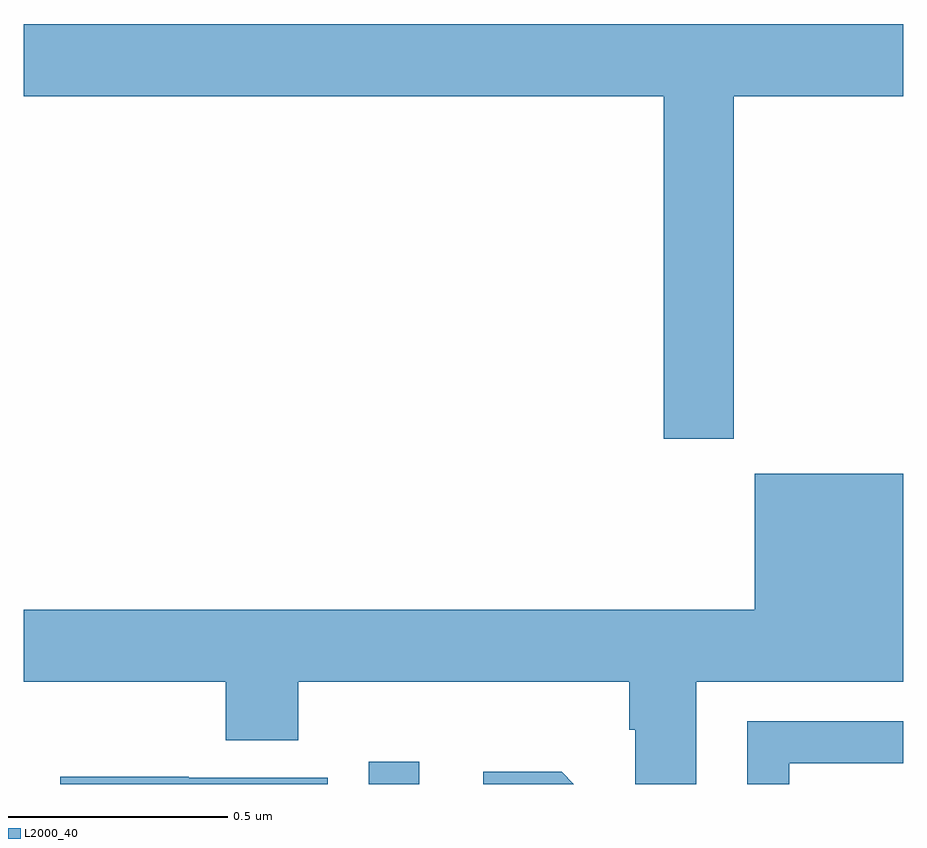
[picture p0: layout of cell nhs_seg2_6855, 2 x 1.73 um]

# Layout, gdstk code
import gdstk
lib = gdstk.Library(unit=1e-6, precision=1e-09)
def R(c, l, rs):  # rectangles x0, y0, x1, y1
    for r in rs: c.add(gdstk.rectangle(r[:2], r[2:], *l))
def P(c, l, *ps):  # polygons
    for p in ps: c.add(gdstk.Polygon(p, *l))
L2000_40 = (2000, 40)

nhs_seg2_6855 = lib.new_cell('nhs_seg2_6855')
R(nhs_seg2_6855, L2000_40, [(197.784,584.8,197.899,584.851)])
P(nhs_seg2_6855, L2000_40, [(198.615,586.364),(199,586.364),(199,586.528),(197,586.528),(197,586.364),(198.455,586.364),(198.455,585.585),(198.615,585.585)],
  [(198.529,585.032),(199,585.032),(199,585.505),(198.662,585.505),(198.662,585.196),(197,585.196),(197,585.032),(197.459,585.032),(197.459,584.899),(197.624,584.899),(197.624,585.032),(198.377,585.032),(198.377,584.923),(198.39,584.923),(198.39,584.8),(198.529,584.8)],
  [(198.741,584.847),(199,584.847),(199,584.943),(198.645,584.943),(198.645,584.8),(198.741,584.8)],
  [(198.223,584.828),(198.045,584.828),(198.045,584.8),(198.251,584.8)],
  [(197.691,584.814),(197.375,584.814),(197.375,584.816),(197.083,584.816),(197.083,584.8),(197.691,584.8)])

lib.write_gds('nhs_seg2_6855.gds')
